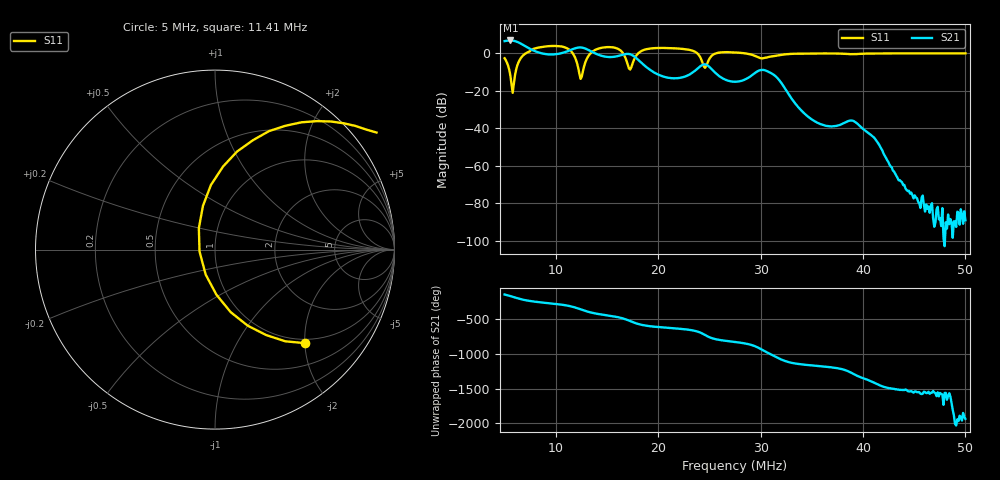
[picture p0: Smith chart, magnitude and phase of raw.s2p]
! S11/S21 only; reverse parameters are placeholders. Device calibration unverified.
! NanoVNA F V2 profile | COM3 | 2026-09-08T12:16:18.0033916-04:00 | device calibration unverified
# HZ S RI R 50
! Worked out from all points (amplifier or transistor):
!   401 points, 5 MHz to 50 MHz, reference 50 ohm
!   highest |S21| = 6.7 dB at 5.562 MHz (marker M1)
!   |S21| within 3 dB of that: start of sweep to 7.002 MHz
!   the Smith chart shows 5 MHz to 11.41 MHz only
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5000000  0.5005 -0.5211  -1.826 -0.9752  0 0  0 0
5562500  0.00762 -0.2509  -2.141 -0.233  0 0  0 0
6462500  0.2111 0.6093  -1.541 1.015  0 0  0 0
7250000  0.7832 0.6888  -0.7191 1.194  0 0  0 0
7812500  0.6354 -1.116  -0.3684 1.108  0 0  0 0
9950000  -0.1033 -1.534  0.2546 0.8867  0 0  0 0
1.1525e7  -0.8032 -0.7336  0.9832 0.7321  0 0  0 0
1.25375e7  0.0995 0.2128  1.37 -0.2352  0 0  0 0
1.3775e7  1.032 -0.5622  0.4901 -0.8671  0 0  0 0
1.56875e7  0.3947 -1.337  -0.2155 -0.761  0 0  0 0
1.63625e7  -0.2161 -1.12  -0.5213 -0.6976  0 0  0 0
1.715e7  -0.3611 0.1276  -0.9103 -0.226  0 0  0 0
1.83875e7  1.122 0.2012  -0.3695 0.3927  0 0  0 0
2.0075e7  1.284 -0.4431  -0.0488 0.2558  0 0  0 0
2.435e7  0.2821 -0.446  0.483 0.0491  0 0  0 0
2.75e7  0.9075 -0.4945  -0.065 -0.1586  0 0  0 0
3.07625e7  0.6875 -0.3671  0.0126 0.3164  0 0  0 0
3.50375e7  0.7041 -0.665  0.000148 -0.0167  0 0  0 0
3.92e7  0.5395 -0.7572  -0.0111 0.00971  0 0  0 0
4.2575e7  0.4427 -0.8703  0.000598 -0.000911  0 0  0 0
4.53875e7  0.3339 -0.917  -4e-05 -0.000102  0 0  0 0
5e7  0.1599 -0.9636  -2.5e-05 -2.5e-05  0 0  0 0
